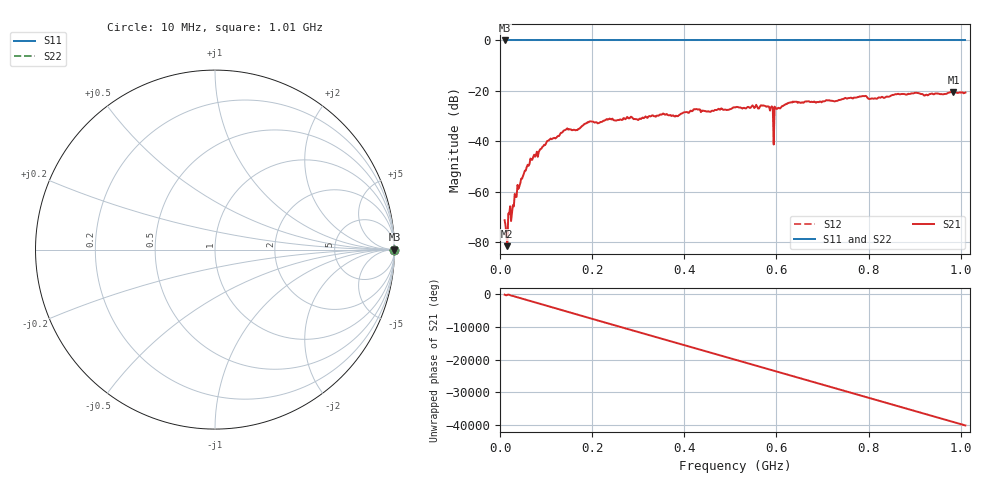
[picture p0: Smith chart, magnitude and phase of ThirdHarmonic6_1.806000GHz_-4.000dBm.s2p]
! 8/16/2025 9:51:56 PM
! C:\ANRITSUVNA\TEMP\TEMP.S2P
! CHANNEL.1
! TR.MEASUREMENT
! RAW.DATA
! RF.CORRECTION.OFF
! AVERAGING.OFF
! IF.BANDWIDTH: 5KHZ
! SWEEPTYPE:  FREQ.SWEEP(Linear)
! Reference Plane Port Info
! PORT:  PORT1  PORT2
! DISTANCE:  0  m  0  m
! TIME:  0  s  0  s
! PHASE.OFFSET:  0  deg.  0  deg.
! LOSS:  0  dB  0  dB
! REF.LOSS:  0  dB  0  dB
! REF.FREQ:  0  Hz  0  Hz
! Power Info
! POWER:  -20  dBm  -20  dBm
! EFF.POWER:  -20  dBm  -20  dBm
! SOURCE.ATTEN:  0  dB  0  dB
! TEST.ATTEN:  0  dB  0  dB
# GHZ S RI R 50.0
! FREQ.GHZ  S11RE  S11IM  S21RE  S21IM  S12RE  S12IM  S22RE  S22IM
!; PortSelection: Port_12
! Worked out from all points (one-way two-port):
!   501 points, 10 MHz to 1.01 GHz, reference 50 ohm
!   highest |S21| = -20.42 dB at 984 MHz (marker M1); lowest = -81.5 dB at 16 MHz (marker M2)
!   lowest |S11| = 0.0 dB at 10 MHz (marker M3)
!   |S11| at or under -10 dB: nowhere
!   |S22| runs from 0.0 to 0.0 dB; largest |S21 - S12| = 1.1
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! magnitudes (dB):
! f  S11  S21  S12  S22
! 10 MHz  0.0  -71.2  0.0  0.0
! 12 MHz  0.0  -73.2  0.0  0.0
! 16 MHz  0.0  -81.5  0.0  0.0
! 22 MHz  0.0  -65.7  0.0  0.0
! 42 MHz  0.0  -57.8  0.0  0.0
! 70 MHz  0.0  -47.3  0.0  0.0
! 106 MHz  0.0  -39.5  0.0  0.0
! 142 MHz  0.0  -35.5  0.0  0.0
! 178 MHz  0.0  -33.9  0.0  0.0
! 198 MHz  0.0  -32.1  0.0  0.0
! 344 MHz  0.0  -29.8  0.0  0.0
! 510 MHz  0.0  -26.5  0.0  0.0
! 572 MHz  0.0  -25.8  0.0  0.0
! 588 MHz  0.0  -26.5  0.0  0.0
! 590 MHz  0.0  -26.1  0.0  0.0
! 598 MHz  0.0  -26.6  0.0  0.0
! 600 MHz  0.0  -27.1  0.0  0.0
! 628 MHz  0.0  -24.6  0.0  0.0
! 678 MHz  0.0  -24.4  0.0  0.0
! 844 MHz  0.0  -22.3  0.0  0.0
! 984 MHz  0.0  -20.4  0.0  0.0
! 1.01 GHz  0.0  -20.7  0.0  0.0
